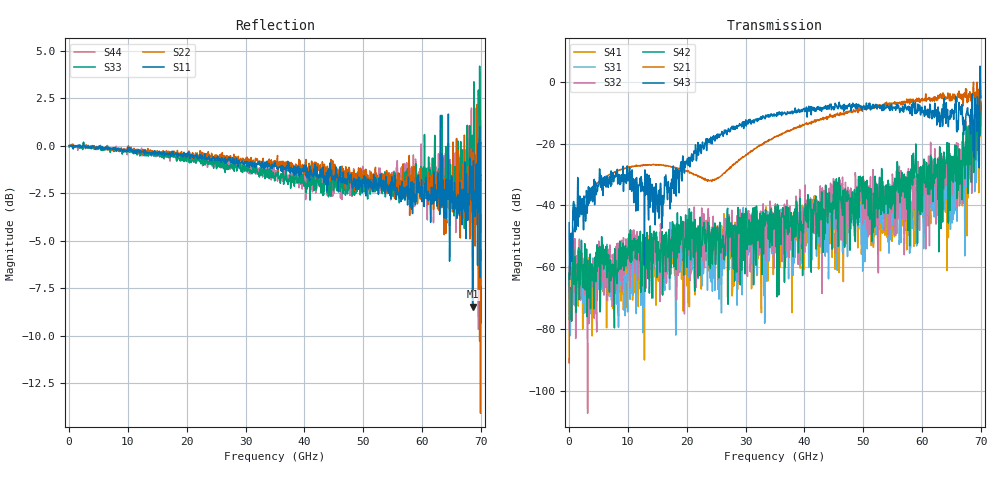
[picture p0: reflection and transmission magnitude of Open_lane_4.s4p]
!Pstart = -2.000000E+001
!Pstop = -1.000000E+001
!Pstep = 2.564103E-001
! 4/30/2026 12:29:20 PM
! C:\ANRITSUVNA\TEMP\TEMP.S4P
! CHANNEL.1
! TR.MEASUREMENT
! CORRECTED.DATA
! RF.CORRECTION: FULL.FOUR.PORT.CAL.PORT.1.2.3.4
! AVERAGING.OFF
! IF.BANDWIDTH: 100HZ
! SWEEPTYPE:  FREQ.SWEEP(Linear)
! Reference Plane Port Info
! DISTANCE:  0  m  0  m  0  m  0  m
! TIME:  0  s  0  s  0  s  0  s
! PHASE.OFFSET:  0 °  0 °  0 °  0 °
! LOSS:  0  dB  0  dB  0  dB  0  dB
! REF.LOSS:  0  dB  0  dB  0  dB  0  dB
! REF.FREQ:  0  Hz  0  Hz  0  Hz  0  Hz
! Power Info
! POWER:  -20  dBm  -20  dBm  -20  dBm  -20  dBm
! EFF.POWER:  -20  dBm  -20  dBm  -40  dBm  -40  dBm
! SOURCE.ATTEN:  0  dB  0  dB  20  dB  20  dB
! TEST.ATTEN:  0  dB  0  dB  20  dB  20  dB
! Created with skrf 1.9.0 (http://scikit-rf.org).
# Hz S RI R 50.0
!freq ReS11 ImS11 ReS12 ImS12 ReS13 ImS13
! ReS14 ImS14
! ReS21 ImS21 ReS22 ImS22 ReS23 ImS23
! ReS24 ImS24
! ReS31 ImS31 ReS32 ImS32 ReS33 ImS33
! ReS34 ImS34
! ReS41 ImS41 ReS42 ImS42 ReS43 ImS43
! ReS44 ImS44
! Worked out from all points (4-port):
!   1001 points, 10 MHz to 70 GHz, reference 50 ohm
!   strongest paths, dB at 10 MHz, 17.51 GHz, 35.01 GHz, 52.5 GHz, 70 GHz:
!     S43: -45.6, -34.5, -10.7, -8.0, -5.2
!     S21: -90.8, -27.4, -17.7, -7.9, -6.5
!     S42: -61.9, -52.9, -46.4, -37.6, -7.2
!     S32: -59.6, -56.0, -40.8, -37.4, -8.1
!     S31: -60.9, -55.0, -50.0, -38.3, -10.0
!     S41: -61.7, -56.1, -47.8, -55.9, -6.8
!   lowest |S11| = -8.5 dB at 68.6 GHz (marker M1), VSWR 2.21, Z = 22.6 - j0.423 ohm
!   |S11| at or under -10 dB: nowhere
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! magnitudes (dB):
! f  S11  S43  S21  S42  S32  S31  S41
! 10 MHz  0.0  -45.6  -90.8  -61.9  -59.6  -60.9  -61.7
! 1.55 GHz  -0.1  -46.7  -42.3  -64.2  -59.9  -59.0  -72.5
! 7.219 GHz  -0.1  -33.3  -29.6  -63.3  -68.0  -70.6  -61.5
! 15.55 GHz  -0.4  -32.8  -26.9  -55.1  -45.9  -56.4  -59.4
! 58.1 GHz  -1.9  -8.4  -5.7  -28.2  -29.1  -38.8  -43.1
! 68.6 GHz  -8.5  -15.1  -4.9  -17.6  -12.5  -29.3  -29.0
! 70 GHz  0.1  -5.2  -6.5  -7.2  -8.1  -10.0  -6.8
